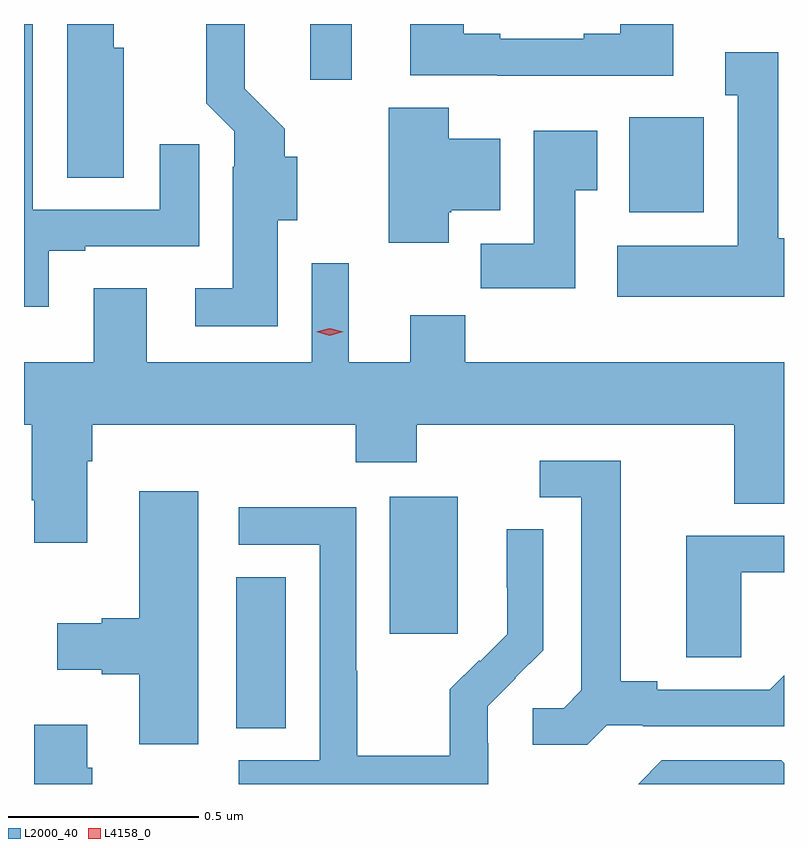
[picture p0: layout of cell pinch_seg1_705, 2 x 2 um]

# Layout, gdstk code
import gdstk
lib = gdstk.Library(unit=1e-6, precision=1e-09)
def R(c, l, rs):  # rectangles x0, y0, x1, y1
    for r in rs: c.add(gdstk.rectangle(r[:2], r[2:], *l))
def P(c, l, *ps):  # polygons
    for p in ps: c.add(gdstk.Polygon(p, *l))
L2000_40 = (2000, 40)
L4158_0 = (4158, 0)

pinch_seg1_705 = lib.new_cell('pinch_seg1_705')
R(pinch_seg1_705, L2000_40, [(673.076,557.593,673.207,557.99), (673.481,557.841,673.66,558.202), (674.111,558.95,674.307,559.201), (673.271,559.299,673.381,559.446)])
P(pinch_seg1_705, L2000_40, [(672.781,559.383),(672.754,559.383),(672.754,559.446),(672.632,559.446),(672.632,559.042),(672.781,559.042)],
  [(673.186,558.93),(673.237,558.93),(673.237,559.097),(673.204,559.097),(673.204,559.17),(673.099,559.276),(673.099,559.446),(672.997,559.446),(672.997,559.238),(673.071,559.164),(673.071,559.07),(673.067,559.07),(673.067,558.751),(672.969,558.751),(672.969,558.65),(673.186,558.65)],
  [(672.583,558.849),(672.679,558.849),(672.679,558.861),(672.979,558.861),(672.979,559.129),(672.875,559.129),(672.875,558.957),(672.541,558.957),(672.541,559.446),(672.518,559.446),(672.518,558.702),(672.583,558.702)],
  [(674.227,559.446),(674.087,559.446),(674.087,559.42),(673.991,559.42),(673.991,559.407),(673.771,559.407),(673.771,559.42),(673.675,559.42),(673.675,559.446),(673.535,559.446),(673.535,559.311),(673.763,559.311),(673.763,559.31),(674.227,559.31)],
  [(674.518,558.882),(674.503,558.882),(674.503,559.372),(674.363,559.372),(674.363,559.259),(674.396,559.259),(674.396,558.862),(674.079,558.862),(674.079,558.728),(674.518,558.728)],
  [(673.636,558.95),(673.642,558.95),(673.642,558.956),(673.771,558.956),(673.771,559.144),(673.636,559.144),(673.636,559.226),(673.478,559.226),(673.478,558.87),(673.636,558.87)],
  [(673.969,559.009),(674.026,559.009),(674.026,559.165),(673.859,559.165),(673.859,558.868),(673.72,558.868),(673.72,558.75),(673.969,558.75)],
  [(672.685,558.296),(672.698,558.296),(672.698,558.392),(673.391,558.392),(673.391,558.293),(673.551,558.293),(673.551,558.392),(674.387,558.392),(674.387,558.184),(674.518,558.184),(674.518,558.556),(673.679,558.556),(673.679,558.68),(673.535,558.68),(673.535,558.556),(673.372,558.556),(673.372,558.817),(673.275,558.817),(673.275,558.556),(672.841,558.556),(672.841,558.751),(672.701,558.751),(672.701,558.556),(672.518,558.556),(672.518,558.392),(672.538,558.392),(672.538,558.193),(672.545,558.193),(672.545,558.081),(672.685,558.081)],
  [(674.052,557.601),(674.146,557.601),(674.146,557.598),(674.518,557.598),(674.518,557.732),(674.48,557.694),(674.185,557.694),(674.185,557.717),(674.089,557.717),(674.089,558.297),(673.875,558.297),(673.875,558.201),(673.985,558.201),(673.985,557.693),(673.938,557.646),(673.857,557.646),(673.857,557.549),(674,557.549)],
  [(672.976,558.217),(672.821,558.217),(672.821,557.882),(672.722,557.882),(672.722,557.869),(672.606,557.869),(672.606,557.747),(672.722,557.747),(672.722,557.735),(672.821,557.735),(672.821,557.55),(672.976,557.55)],
  [(673.74,557.553),(673.738,557.553),(673.738,557.65),(673.812,557.724),(673.811,557.725),(673.884,557.798),(673.884,558.116),(673.788,558.116),(673.788,557.962),(673.79,557.962),(673.79,557.84),(673.719,557.769),(673.716,557.772),(673.639,557.695),(673.639,557.521),(673.395,557.521),(673.395,557.744),(673.392,557.744),(673.392,558.174),(673.083,558.174),(673.083,558.075),(673.296,558.075),(673.296,557.508),(673.083,557.508),(673.083,557.446),(673.74,557.446)],
  [(674.406,558.003),(674.518,558.003),(674.518,558.099),(674.261,558.099),(674.261,557.779),(674.406,557.779)],
  [(672.698,557.489),(672.685,557.489),(672.685,557.602),(672.545,557.602),(672.545,557.446),(672.698,557.446)],
  [(674.518,557.501),(674.511,557.508),(674.196,557.508),(674.134,557.446),(674.518,557.446)])
P(pinch_seg1_705, L4158_0, [(673.323,558.626),(673.287,558.636),(673.287,558.636),(673.287,558.636),(673.323,558.646),(673.358,558.636),(673.358,558.636),(673.358,558.636)])

lib.write_gds('pinch_seg1_705.gds')
